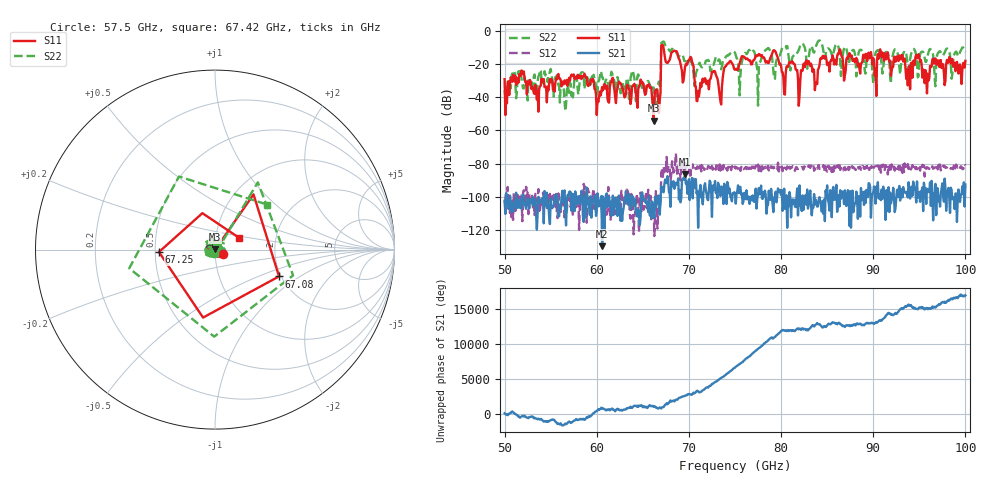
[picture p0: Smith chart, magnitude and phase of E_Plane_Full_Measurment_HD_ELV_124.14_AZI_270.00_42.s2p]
! 11/26/2026 3:37:20 PM
! C:\ANRITSUVNA\TEMP\TEMP.S2P
! CHANNEL.1
! TR.MEASUREMENT
! RAW.DATA
# HZ S RI R 50.0
! FREQ.HZ  S11RE  S11IM  S21RE  S21IM  S12RE  S12IM  S22RE  S22IM
!; PortSelection: Port_12
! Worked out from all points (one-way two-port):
!   601 points, 50 GHz to 100 GHz, reference 50 ohm
!   highest |S21| = -86.61 dB at 69.58 GHz (marker M1); lowest = -130.0 dB at 60.58 GHz (marker M2)
!   lowest |S11| = -54.0 dB at 66.17 GHz (marker M3), VSWR 1.00, Z = 50.1 + j0.144 ohm
!   |S11| at or under -10 dB: start of sweep to 67 GHz; 67.25 GHz to end of sweep
!   |S22| runs from -48.3 to -5.6 dB; largest |S21 - S12| = 0.00022
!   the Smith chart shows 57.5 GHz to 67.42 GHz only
!   S11 on the Smith chart (normalised r, x): 57.5 GHz: 1.09, -0.05; 67.08 GHz: 1.95, -0.68; 67.25 GHz: 0.52, -0.02; 67.42 GHz: 1.29, +0.18
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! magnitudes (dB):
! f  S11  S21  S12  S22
! 50 GHz  -29.0  -102.5  -103.8  -35.7
! 51.67 GHz  -26.3  -105.1  -103.8  -23.3
! 57.5 GHz  -26.2  -98.5  -103.4  -34.6
! 58.42 GHz  -27.2  -99.1  -99.6  -24.7
! 60.58 GHz  -33.7  -130.0  -109.8  -27.9
! 66.17 GHz  -54.0  -107.6  -105.5  -34.0
! 66.67 GHz  -41.5  -99.3  -107.4  -31.6
! 67.08 GHz  -8.3  -94.4  -84.1  -6.8
! 67.25 GHz  -10.1  -97.4  -81.8  -6.2
! 67.42 GHz  -16.6  -89.7  -82.3  -8.3
! 69.58 GHz  -21.3  -86.6  -79.6  -18.1
! 70.25 GHz  -16.0  -93.9  -82.6  -18.8
! 70.92 GHz  -42.2  -96.7  -81.7  -23.2
! 75 GHz  -23.3  -98.0  -81.9  -12.9
! 79.25 GHz  -11.5  -100.5  -82.0  -28.9
! 80.25 GHz  -27.9  -104.9  -81.0  -9.3
! 83.42 GHz  -24.5  -105.6  -81.9  -10.8
! 91.67 GHz  -16.7  -94.4  -81.1  -15.2
! 93.75 GHz  -32.8  -100.5  -80.3  -21.3
! 94.83 GHz  -15.0  -100.7  -82.5  -27.9
! 95.83 GHz  -37.6  -95.3  -82.2  -16.4
! 100 GHz  -17.9  -92.7  -81.2  -12.5
